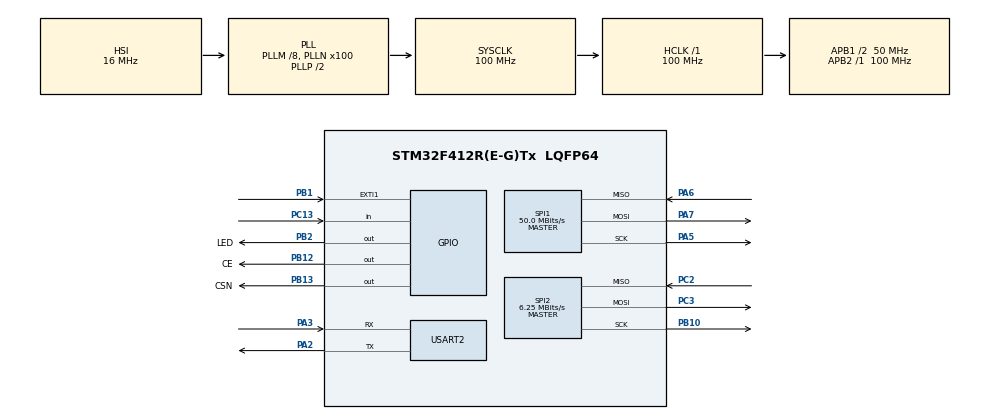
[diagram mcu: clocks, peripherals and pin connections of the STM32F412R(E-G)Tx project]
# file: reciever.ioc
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Mcu.Family=STM32F4
Mcu.Name=STM32F412R(E-G)Tx
Mcu.Package=LQFP64
NVIC.EXTI1_IRQn=true\:0\:0\:false\:false\:true\:true\:true\:true
NVIC.PriorityGroup=NVIC_PRIORITYGROUP_4
NVIC.USART2_IRQn=true\:0\:0\:false\:false\:true\:true\:true\:true
PA13.Mode=Serial_Wire
PA13.Signal=SYS_JTMS-SWDIO
PA14.Mode=Serial_Wire
PA14.Signal=SYS_JTCK-SWCLK
PA2.Mode=Asynchronous
PA2.Signal=USART2_TX
PA3.Mode=Asynchronous
PA3.Signal=USART2_RX
PA5.Mode=Full_Duplex_Master
PA5.Signal=SPI1_SCK
PA6.Mode=Full_Duplex_Master
PA6.Signal=SPI1_MISO
PA7.Mode=Full_Duplex_Master
PA7.Signal=SPI1_MOSI
PB1.GPIO_ModeDefaultEXTI=GPIO_MODE_IT_FALLING
PB1.Signal=GPXTI1
PB10.Mode=Full_Duplex_Master
PB10.Signal=SPI2_SCK
PB12.GPIO_Label=CE
PB12.GPIO_Speed=GPIO_SPEED_FREQ_HIGH
PB12.PinState=GPIO_PIN_RESET
PB12.Signal=GPIO_Output
PB13.GPIO_Label=CSN
PB13.GPIO_Speed=GPIO_SPEED_FREQ_HIGH
PB13.PinState=GPIO_PIN_SET
PB13.Signal=GPIO_Output
PB2.GPIO_Label=LED
PB2.Signal=GPIO_Output
PC13.Signal=GPIO_Input
PC2.Mode=Full_Duplex_Master
PC2.Signal=SPI2_MISO
PC3.Mode=Full_Duplex_Master
PC3.Signal=SPI2_MOSI
PH0\ -\ OSC_IN.Mode=HSE-External-Oscillator
PH0\ -\ OSC_IN.Signal=RCC_OSC_IN
PH1\ -\ OSC_OUT.Mode=HSE-External-Oscillator
PH1\ -\ OSC_OUT.Signal=RCC_OSC_OUT
ProjectManager.HeapSize=0x200
ProjectManager.StackSize=0x400
ProjectManager.TargetToolchain=STM32CubeIDE
RCC.AHBFreq_Value=100000000
RCC.APB1CLKDivider=RCC_HCLK_DIV2
RCC.APB1Freq_Value=50000000
RCC.APB1TimFreq_Value=100000000
RCC.APB2Freq_Value=100000000
RCC.APB2TimFreq_Value=100000000
RCC.CortexFreq_Value=100000000
RCC.HCLKFreq_Value=100000000
RCC.HSE_VALUE=8000000
RCC.PLLM=8
RCC.PLLN=100
RCC.SYSCLKFreq_VALUE=100000000
RCC.SYSCLKSource=RCC_SYSCLKSOURCE_PLLCLK
RCC.USBFreq_Value=100000000
RCC.VCOOutputFreq_Value=200000000
SPI1.CalculateBaudRate=50.0 MBits/s
SPI1.Direction=SPI_DIRECTION_2LINES
SPI1.Mode=SPI_MODE_MASTER
SPI1.VirtualType=VM_MASTER
SPI2.BaudRatePrescaler=SPI_BAUDRATEPRESCALER_8
SPI2.CalculateBaudRate=6.25 MBits/s
SPI2.Direction=SPI_DIRECTION_2LINES
SPI2.Mode=SPI_MODE_MASTER
SPI2.VirtualType=VM_MASTER
USART2.VirtualMode=VM_ASYNC
board=custom

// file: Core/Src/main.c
/* USER CODE BEGIN Header */
/**
 *                                 RECIEVER
 *
  ******************************************************************************
  * @file           : main.c
  * @brief          : Main program body
  ******************************************************************************
  * @attention
  *
  * Copyright (c) 2024 STMicroelectronics.
  * All rights reserved.
  *
  * This software is licensed under terms that can be found in the LICENSE file
  * in the root directory of this software component.
  * If no LICENSE file comes with this software, it is provided AS-IS.
  *
  ******************************************************************************
  */
/* USER CODE END Header */
#include "main.h"
#include "spi.h"
#include "usart.h"
#include "gpio.h"

/* USER CODE BEGIN Includes */
#include "nrf24l01p.h"
/* USER CODE END Includes */

/* USER CODE BEGIN PV */
uint8_t rx_data[NRF24L01P_PAYLOAD_LENGTH] = { 'M', 'o' , '1', '1' , '2' ,'1' , '3','\0'};
uint8_t tx_data[NRF24L01P_PAYLOAD_LENGTH] = {'O','m','a','r','2','9','8','\0'};

uint8_t txBuffer[] = {'h','n','\0'};
/* USER CODE END PV */

void SystemClock_Config(void);
/* USER CODE BEGIN PFP */
void HAL_GPIO_EXTI_Callback(uint16_t GPIO_Pin);
/* USER CODE END PFP */

int main(void)
{

  /* MCU Configuration--------------------------------------------------------*/

  /* Reset of all peripherals, Initializes the Flash interface and the Systick. */
  HAL_Init();

  /* Configure the system clock */
  SystemClock_Config();

  /* Initialize all configured peripherals */
  MX_GPIO_Init();
  MX_SPI2_Init();
  MX_USART2_UART_Init();
  MX_SPI1_Init();
  /* USER CODE BEGIN 2 */
  // nrf24l01p_rx_init(2500, _1Mbps, SPI_2);
  nrf24l01p_tx_init(2490, _1Mbps, SPI_2);
  /* USER CODE END 2 */

  /* Infinite loop */
  while (1)
  {

    /* USER CODE BEGIN 3 */

	  HAL_UART_Transmit(&huart2, rx_data, sizeof(rx_data) - 1, HAL_MAX_DELAY);

//	  if(rx_data[0] == 1)
//	  {
//		  HAL_GPIO_WritePin(LED_GPIO_Port, LED_Pin, 1);
//	  }
//	  else
//	  {
//		  HAL_GPIO_WritePin(LED_GPIO_Port, LED_Pin, 0);
//	  }
	  if(HAL_GPIO_ReadPin(GPIOC, GPIO_PIN_13))
	  {
        nrf24l01p_tx_transmit(tx_data, SPI_2);
		HAL_GPIO_WritePin(GPIOB, GPIO_PIN_2, 1);
		HAL_Delay(300);
		HAL_GPIO_WritePin(GPIOB, GPIO_PIN_2, 0);
	  }

	  if(rx_data[0] == 'O')
	  {
//	     HAL_GPIO_WritePin(LED_GPIO_Port, LED_Pin, 1);
	  }

  }
  /* USER CODE END 3 */
}

void SystemClock_Config(void)
{
  RCC_OscInitTypeDef RCC_OscInitStruct = {0};
  RCC_ClkInitTypeDef RCC_ClkInitStruct = {0};

  /** Configure the main internal regulator output voltage
  */
  __HAL_RCC_PWR_CLK_ENABLE();
  __HAL_PWR_VOLTAGESCALING_CONFIG(PWR_REGULATOR_VOLTAGE_SCALE1);

  /** Initializes the RCC Oscillators according to the specified parameters
  * in the RCC_OscInitTypeDef structure.
  */
  RCC_OscInitStruct.OscillatorType = RCC_OSCILLATORTYPE_HSI;
  RCC_OscInitStruct.HSIState = RCC_HSI_ON;
  RCC_OscInitStruct.HSICalibrationValue = RCC_HSICALIBRATION_DEFAULT;
  RCC_OscInitStruct.PLL.PLLState = RCC_PLL_ON;
  RCC_OscInitStruct.PLL.PLLSource = RCC_PLLSOURCE_HSI;
  RCC_OscInitStruct.PLL.PLLM = 8;
  RCC_OscInitStruct.PLL.PLLN = 100;
  RCC_OscInitStruct.PLL.PLLP = RCC_PLLP_DIV2;
  RCC_OscInitStruct.PLL.PLLQ = 2;
  RCC_OscInitStruct.PLL.PLLR = 2;
  if (HAL_RCC_OscConfig(&RCC_OscInitStruct) != HAL_OK)
  {
    Error_Handler();
  }

  /** Initializes the CPU, AHB and APB buses clocks
  */
  RCC_ClkInitStruct.ClockType = RCC_CLOCKTYPE_HCLK|RCC_CLOCKTYPE_SYSCLK
                              |RCC_CLOCKTYPE_PCLK1|RCC_CLOCKTYPE_PCLK2;
  RCC_ClkInitStruct.SYSCLKSource = RCC_SYSCLKSOURCE_PLLCLK;
  RCC_ClkInitStruct.AHBCLKDivider = RCC_SYSCLK_DIV1;
  RCC_ClkInitStruct.APB1CLKDivider = RCC_HCLK_DIV2;
  RCC_ClkInitStruct.APB2CLKDivider = RCC_HCLK_DIV1;

  if (HAL_RCC_ClockConfig(&RCC_ClkInitStruct, FLASH_LATENCY_3) != HAL_OK)
  {
    Error_Handler();
  }
}

/* USER CODE BEGIN 4 */
void HAL_GPIO_EXTI_Callback(uint16_t GPIO_Pin)
{
	if(GPIO_Pin == NRF24L01P_IRQ_2_PIN_NUMBER)
	{
		nrf24l01p_tx_irq(SPI_2); // clear interrupt flag

//		nrf24l01p_rx_receive(rx_data, SPI_2); // read data when data ready flag is set
//	    HAL_GPIO_TogglePin(LED_GPIO_Port, LED_Pin);
	}
}
/* USER CODE END 4 */

void Error_Handler(void)
{
  __disable_irq();
  while (1)
  {
  }
}
